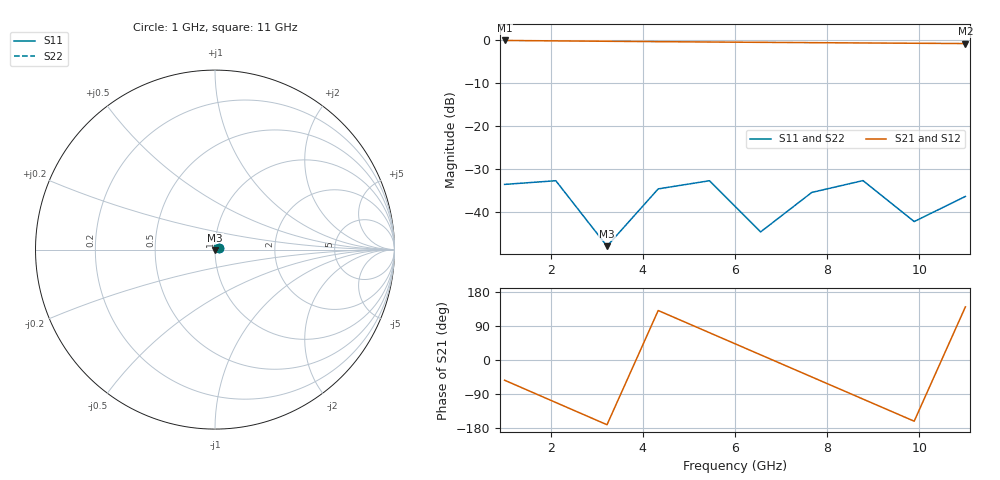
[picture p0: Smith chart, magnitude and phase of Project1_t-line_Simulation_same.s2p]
# Hz S MA R 50
!Touchstone multiport model file <C:\Users\Yuriy\Documents\Simbeor THz Solutions\!Getting Started 2016\Project1\Results\Project1_t-line_Simulation_same.s2p>
!Created on 04 May 18, at 06:55:32.
!Created with Simbeor THz 2017.02(64bit) of Simberian Inc. built on Dec 25 2017
!Output from MultiportParameters of Simbeor.
!Multiport parameters: DataOrigin=Simulation DataOriginName="Project1.t-line.Simulation(1)"
!LinearNetworkData: EMPTY;
!Uncomment the following lines with keywords in square brakets to support IBIS forum specification 2.0.
![Version] 2.0 !This line should be the first in file, preceeding the line starting with #.
![Number of Ports] 2
![Number of Frequencies] 10
![Two-Port Data Order] 21_12
![Reference] 50 50
!!!!Multiport descriptor profile: InputCount=2 TotalPortCount=2
!DescriptorOutline={DescriptorType=SMatrix InputSpace=Terminal NormalizationType=CommonZo NormalizationCommonZo=50 Ohm OutputFormat=MagnitudeAngle ListOfZo=(1:50)(2:25)}
!InputProfile={Name="Input1" IsTLineInput=True InputNumber=1 PortCount=1 FirstPortNumber=1 InputSpace=Terminal BlockType=SBlock NormalizationType=CommonZo Zo=50}
!InputProfile={Name="Input2" IsTLineInput=True InputNumber=2 PortCount=1 FirstPortNumber=2 InputSpace=Terminal BlockType=SBlock NormalizationType=CommonZo Zo=50}
!!!Global port number to input_name/local_port_number correspondence:
!Port 1 -> "Input1"/local_port_1 (terminal)
!Port 2 -> "Input2"/local_port_1 (terminal)
!!!!End of descriptor profile.
!Frequency Hz |S[1,1]| arg(S[1,1]) |S[2,1]| arg(S[2,1]) |S[1,2]| arg(S[1,2]) |S[2,2]| arg(S[2,2])
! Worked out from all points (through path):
!   10 points, 1 GHz to 11 GHz, reference 50 ohm
!   highest |S21| = -0.13 dB at 1 GHz (marker M1); lowest = -0.8 dB at 11 GHz (marker M2)
!   lowest |S11| = -47.8 dB at 3.222 GHz (marker M3), VSWR 1.01, Z = 50.1 - j0.396 ohm
!   |S11| at or under -10 dB: start of sweep to end of sweep
!   |S22| runs from -47.8 to -32.6 dB; largest |S21 - S12| = 1.1e-15
1e9  0.02115 21.4  0.9855 -53.4  0.9855 -53.4  0.02115 21.4
2.111111e9  0.02333 -31.7  0.9743 -112.1  0.9743 -112.1  0.02333 -31.7
3.222222e9  0.004068 -76.1  0.9643 -170.8  0.9643 -170.8  0.004068 -76.1
4.333333e9  0.01876 31.8  0.9545 130.6  0.9545 130.6  0.01876 31.8
5.444444e9  0.02333 -22.2  0.9456 72.1  0.9456 72.1  0.02333 -22.2
6.555556e9  0.005949 -65.9  0.9375 13.7  0.9375 13.7  0.005949 -65.9
7.666667e9  0.01708 37.4  0.9295 -44.8  0.9295 -44.8  0.01708 37.4
8.777778e9  0.02341 -15.1  0.9218 -103.1  0.9218 -103.1  0.02341 -15.1
9.888889e9  0.00785 -59.1  0.9147 -161.5  0.9147 -161.5  0.00785 -59.1
1.1e10  0.01533 41.6  0.9075 140.2  0.9075 140.2  0.01533 41.6
